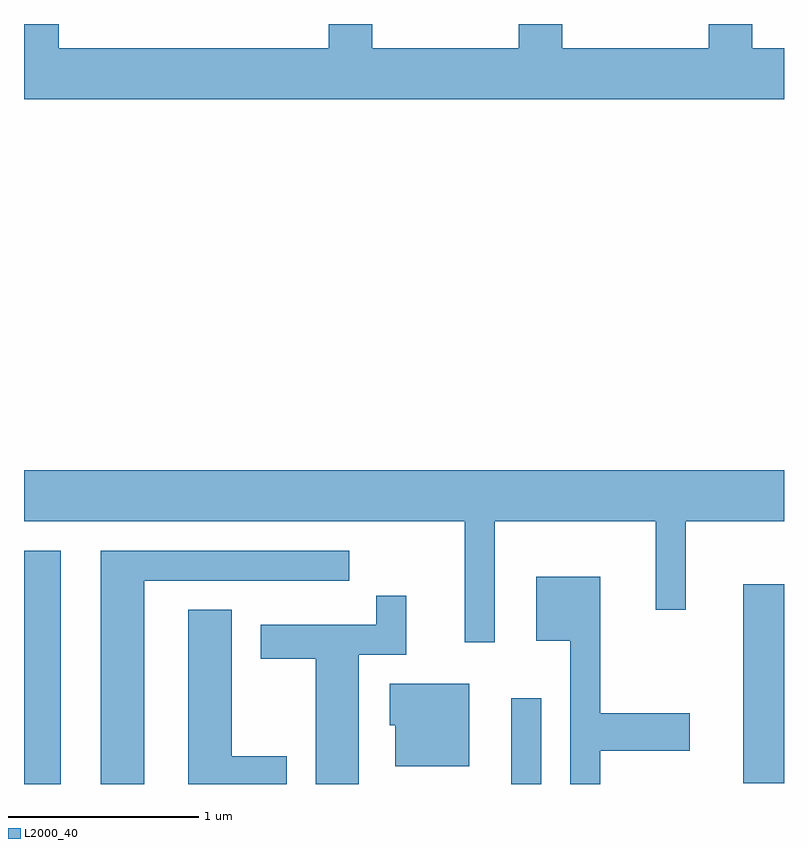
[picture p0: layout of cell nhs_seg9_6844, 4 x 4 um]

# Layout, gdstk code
import gdstk
lib = gdstk.Library(unit=1e-6, precision=1e-09)
def R(c, l, rs):  # rectangles x0, y0, x1, y1
    for r in rs: c.add(gdstk.rectangle(r[:2], r[2:], *l))
def P(c, l, *ps):  # polygons
    for p in ps: c.add(gdstk.Polygon(p, *l))
L2000_40 = (2000, 40)

nhs_seg9_6844 = lib.new_cell('nhs_seg9_6844')
R(nhs_seg9_6844, L2000_40, [(387.611,1990.432,387.804,1991.659), (390.176,1990.432,390.334,1990.883), (391.396,1990.436,391.611,1991.484)])
P(nhs_seg9_6844, L2000_40, [(391.611,1994.304),(391.444,1994.304),(391.444,1994.432),(391.216,1994.432),(391.216,1994.304),(390.444,1994.304),(390.444,1994.432),(390.216,1994.432),(390.216,1994.304),(389.444,1994.304),(389.444,1994.432),(389.216,1994.432),(389.216,1994.304),(387.794,1994.304),(387.794,1994.432),(387.611,1994.432),(387.611,1994.036),(391.611,1994.036)],
  [(390.089,1991.816),(390.936,1991.816),(390.936,1991.348),(391.094,1991.348),(391.094,1991.816),(391.611,1991.816),(391.611,1992.084),(387.611,1992.084),(387.611,1991.816),(389.931,1991.816),(389.931,1991.178),(390.089,1991.178)],
  [(388.244,1991.501),(389.323,1991.501),(389.323,1991.659),(388.016,1991.659),(388.016,1990.432),(388.244,1990.432)],
  [(390.644,1990.606),(391.114,1990.606),(391.114,1990.804),(390.644,1990.804),(390.644,1991.524),(390.306,1991.524),(390.306,1991.186),(390.486,1991.186),(390.486,1990.432),(390.644,1990.432)],
  [(389.374,1991.111),(389.624,1991.111),(389.624,1991.423),(389.466,1991.423),(389.466,1991.269),(388.856,1991.269),(388.856,1991.091),(389.146,1991.091),(389.146,1990.432),(389.374,1990.432)],
  [(388.994,1990.579),(388.704,1990.579),(388.704,1991.349),(388.476,1991.349),(388.476,1990.432),(388.994,1990.432)],
  [(389.954,1990.959),(389.536,1990.959),(389.536,1990.741),(389.566,1990.741),(389.566,1990.526),(389.954,1990.526)])

lib.write_gds('nhs_seg9_6844.gds')
